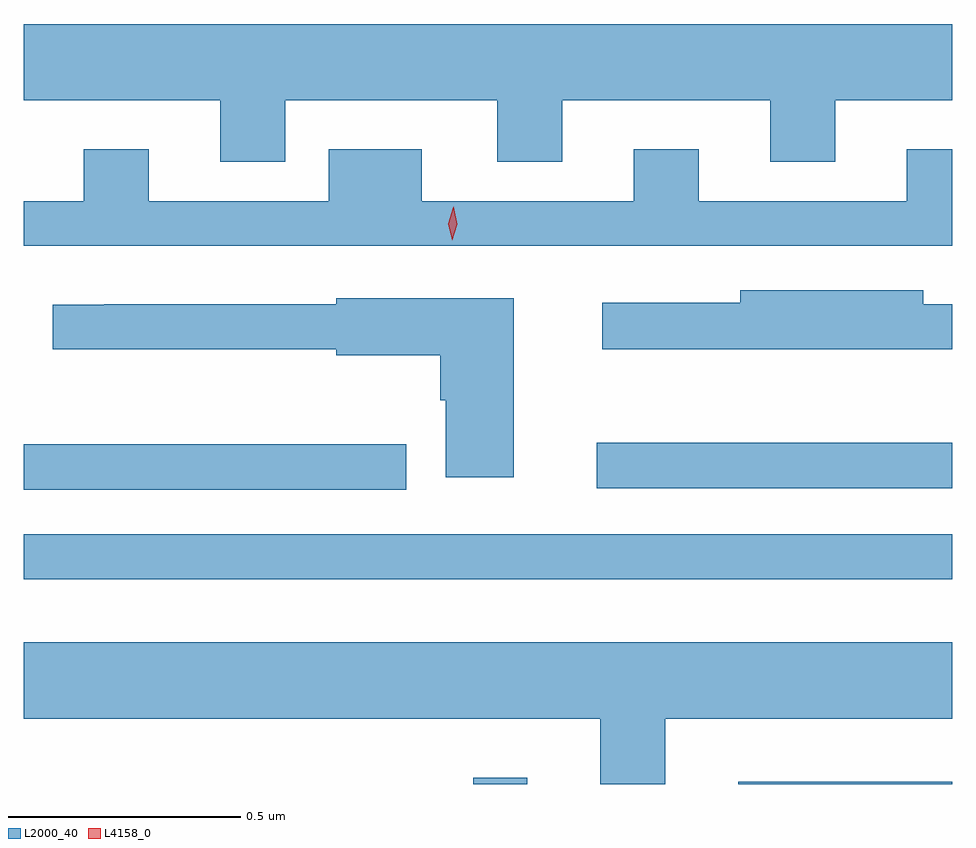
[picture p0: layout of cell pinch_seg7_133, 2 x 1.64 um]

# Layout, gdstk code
import gdstk
lib = gdstk.Library(unit=1e-6, precision=1e-09)
def R(c, l, rs):  # rectangles x0, y0, x1, y1
    for r in rs: c.add(gdstk.rectangle(r[:2], r[2:], *l))
def P(c, l, *ps):  # polygons
    for p in ps: c.add(gdstk.Polygon(p, *l))
L2000_40 = (2000, 40)
L4158_0 = (4158, 0)

pinch_seg7_133 = lib.new_cell('pinch_seg7_133')
R(pinch_seg7_133, L2000_40, [(913.783,1017.791,913.9,1017.805), (914.354,1017.791,914.815,1017.796), (912.815,1018.232,914.815,1018.329), (912.815,1018.425,913.639,1018.523), (914.049,1018.428,914.815,1018.526)])
P(pinch_seg7_133, L2000_40, [(913.378,1019.264),(913.835,1019.264),(913.835,1019.131),(913.975,1019.131),(913.975,1019.264),(914.423,1019.264),(914.423,1019.131),(914.563,1019.131),(914.563,1019.264),(914.815,1019.264),(914.815,1019.428),(912.815,1019.428),(912.815,1019.264),(913.238,1019.264),(913.238,1019.131),(913.378,1019.131)],
  [(914.815,1019.158),(914.717,1019.158),(914.717,1019.046),(914.269,1019.046),(914.269,1019.158),(914.129,1019.158),(914.129,1019.046),(913.672,1019.046),(913.672,1019.158),(913.472,1019.158),(913.472,1019.046),(913.084,1019.046),(913.084,1019.158),(912.944,1019.158),(912.944,1019.046),(912.815,1019.046),(912.815,1018.95),(914.815,1018.95)],
  [(914.815,1018.824),(914.752,1018.824),(914.752,1018.855),(914.358,1018.855),(914.358,1018.828),(914.061,1018.828),(914.061,1018.727),(914.815,1018.727)],
  [(913.87,1018.837),(913.488,1018.837),(913.488,1018.824),(912.988,1018.824),(912.988,1018.823),(912.877,1018.823),(912.877,1018.727),(913.488,1018.727),(913.488,1018.715),(913.712,1018.715),(913.712,1018.618),(913.724,1018.618),(913.724,1018.452),(913.87,1018.452)],
  [(912.815,1017.932),(914.057,1017.932),(914.057,1017.791),(914.197,1017.791),(914.197,1017.932),(914.815,1017.932),(914.815,1018.096),(912.815,1018.096)])
P(pinch_seg7_133, L4158_0, [(913.738,1018.962),(913.738,1018.962),(913.729,1018.998),(913.74,1019.033),(913.741,1019.034),(913.741,1019.033),(913.749,1018.997),(913.738,1018.962)])

lib.write_gds('pinch_seg7_133.gds')
